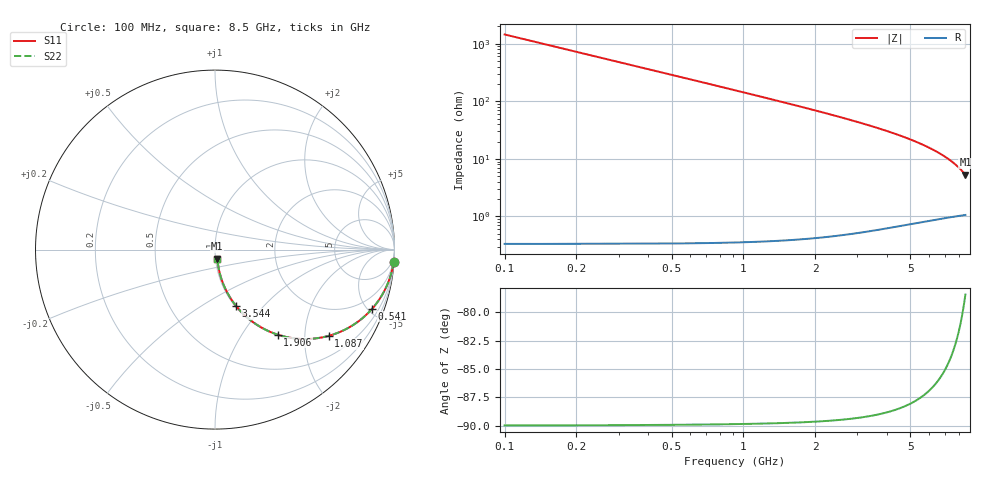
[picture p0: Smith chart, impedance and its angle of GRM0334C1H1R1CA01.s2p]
!Murata Part Number: GRM0334C1H1R1CA01
!These Parameters are Measured in Series Mode Connection
!Data Generated on Mar 30, 2021
!  o--ll--o
!Port1  Port2
!  o------o
!Operation Temp=25[degC], DC Bias Voltage=0[V]
!Freq. Start=100[MHz] Stop=9[GHz] 401[Steps]
# Hz S RI R 50
!Freq.(Hz) S11(Real) S11(Imag) S21(Real) S21(Imag) S12(Real) S12(Imag) S22(Real) S22(Imag)
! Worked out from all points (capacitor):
!   401 points, 100 MHz to 8.5 GHz, reference 50 ohm
!   read as one part in series: C = 1.1 pF near 142 MHz
!   lowest |Z| = 5.3 ohm at 8.5 GHz (marker M1)
!   S11 on the Smith chart (normalised r, x): 100 MHz: 1, -29; 541 MHz: 1.01, -5.33; 1.087 GHz: 1.01, -2.63; 1.906 GHz: 1.01, -1.46; 3.544 GHz: 1.01, -0.71; 8.5 GHz: 1.02, -0.10
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1e8  0.9952 -0.0688  0.00477 0.0688  0.00477 0.0688  0.9952 -0.0688
1.21e8  0.993 -0.0831  0.00697 0.0831  0.00697 0.0831  0.993 -0.0831
1.63e8  0.9874 -0.1113  0.0126 0.1113  0.0126 0.1113  0.9874 -0.1113
2.05e8  0.9802 -0.1389  0.0198 0.1389  0.0198 0.1389  0.9802 -0.1389
2.47e8  0.9716 -0.1659  0.0284 0.1659  0.0284 0.1659  0.9716 -0.1659
2.89e8  0.9615 -0.1922  0.0385 0.1922  0.0385 0.1922  0.9615 -0.1922
3.94e8  0.9306 -0.2537  0.0694 0.2537  0.0694 0.2537  0.9306 -0.2537
5.41e8  0.8764 -0.3285  0.1236 0.3285  0.1236 0.3285  0.8764 -0.3285
6.67e8  0.823 -0.3809  0.177 0.3809  0.177 0.3809  0.823 -0.3809
7.93e8  0.7663 -0.4223  0.2337 0.4223  0.2337 0.4223  0.7663 -0.4223
1.087e9  0.6332 -0.4806  0.3668 0.4806  0.3668 0.4806  0.6332 -0.4806
1.276e9  0.554 -0.4954  0.446 0.4954  0.446 0.4954  0.554 -0.4954
1.507e9  0.468 -0.4969  0.532 0.4969  0.532 0.4969  0.468 -0.4969
1.906e9  0.349 -0.4738  0.651 0.4738  0.651 0.4738  0.349 -0.4738
2.368e9  0.2509 -0.4296  0.7491 0.4296  0.7491 0.4296  0.2509 -0.4296
2.914e9  0.1735 -0.3732  0.8265 0.3732  0.8265 0.3732  0.1735 -0.3732
3.544e9  0.1167 -0.3132  0.8833 0.3132  0.8833 0.3132  0.1167 -0.3132
4.3e9  0.0752 -0.252  0.9248 0.252  0.9248 0.252  0.0752 -0.252
5.707e9  0.0362 -0.1646  0.9638 0.1646  0.9638 0.1646  0.0362 -0.1646
7.114e9  0.0197 -0.1003  0.9803 0.1003  0.9803 0.1003  0.0197 -0.1003
7.828e9  0.0155 -0.0734  0.9845 0.0734  0.9845 0.0734  0.0155 -0.0734
8.5e9  0.0131 -0.0507  0.9869 0.0507  0.9869 0.0507  0.0131 -0.0507
